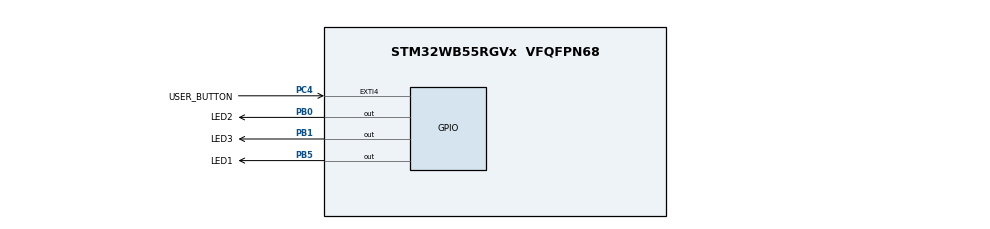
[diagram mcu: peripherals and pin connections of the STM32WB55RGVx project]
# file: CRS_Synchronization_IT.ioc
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Mcu.Family=STM32WB
Mcu.Name=STM32WB55RGVx
Mcu.Package=VFQFPN68
NVIC.EXTI4_IRQn=true\:0\:0\:false\:false\:true\:true\:true
NVIC.PriorityGroup=NVIC_PRIORITYGROUP_4
PB0.GPIO_Label=LED2
PB0.Signal=GPIO_Output
PB1.GPIO_Label=LED3
PB1.Signal=GPIO_Output
PB5.GPIO_Label=LED1
PB5.Signal=GPIO_Output
PC4.GPIO_Label=USER_BUTTON
PC4.GPIO_ModeDefaultEXTI=GPIO_MODE_IT_FALLING
PC4.GPIO_PuPd=GPIO_PULLUP
PC4.Signal=GPXTI4
ProjectManager.HeapSize=0x200
ProjectManager.StackSize=0x400
ProjectManager.TargetToolchain=EWARM V8
RCC.AHB2CLKDivider=RCC_SYSCLK_DIV2
RCC.AHBFreq_Value=64000000
RCC.APB1Freq_Value=64000000
RCC.APB1TimFreq_Value=64000000
RCC.APB2Freq_Value=64000000
RCC.APB2TimFreq_Value=64000000
RCC.APB3Freq_Value=16000000
RCC.CodegenConfigPeriph=false
RCC.CortexFreq_Value=64000000
RCC.HCLKFreq_Value=64000000
RCC.HSE_VALUE=8000000
RCC.HSI48_VALUE=48000000
RCC.HSI_VALUE=16000000
RCC.LSE_VALUE=32768
RCC.PLLN=32
RCC.SYSCLKFreq_VALUE=64000000
RCC.SYSCLKSource=RCC_SYSCLKSOURCE_PLLCLK
RCC.VCOOutputFreq_Value=128000000
board=custom

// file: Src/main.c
/* USER CODE BEGIN Header */
/**
  ******************************************************************************
  * @file    Examples_LL/CRS/CRS_Synchronization_IT/Src/main.c
  * @author  MCD Application Team
  * @brief   This example describes how to configure Clock Recovery Service in
  *          IT mode through the STM32WBxx CRS LL API.
  ******************************************************************************
  * @attention
  *
  * <h2><center>&copy; Copyright (c) 2019 STMicroelectronics.
  * All rights reserved.</center></h2>
  *
  * This software component is licensed by ST under BSD 3-Clause license,
  * the "License"; You may not use this file except in compliance with the
  * License. You may obtain a copy of the License at:
  *                        opensource.org/licenses/BSD-3-Clause
  *
  ******************************************************************************
  */
/* USER CODE END Header */

#include "main.h"

/* USER CODE BEGIN PD */

#define CRS_STATUS_INIT       0
#define CRS_STATUS_SYNCOK     1
#define CRS_STATUS_SYNCWARN   2
#define CRS_STATUS_SYNCMISS   3
#define CRS_STATUS_SYNCERR    4

/* Oscillator time-out values */
#define LSE_TIMEOUT_VALUE     ((uint32_t)5000)  /* 5 s */

/* USER CODE END PD */

/* USER CODE BEGIN PV */
__IO uint8_t ubButtonPress = 0;

/* Variable to save SYNC status*/
__IO uint32_t CRSSyncStatus = CRS_STATUS_INIT;

/* Variable used for Timeout management */
#if (USE_TIMEOUT == 1)
uint32_t Timeout = 0;
#endif /* USE_TIMEOUT */

/* USER CODE END PV */

void SystemClock_Config(void);
static void MX_GPIO_Init(void);
/* USER CODE BEGIN PFP */

void     Enable_Sync_Reference_Clock(void);
void     Enable_CRS_Clocks(void);
void     Configure_CRS(uint32_t SyncSource);
void     MCO_ConfigGPIO(void);
void     LED_On(uint32_t LED_Number);
void     LED_Off(uint32_t LED_Number);
void     LED_Blinking(uint32_t LED_Number, uint32_t Period);
void     WaitForUserButtonPress(void);

/* USER CODE END PFP */

int main(void)
{
  /* USER CODE BEGIN 1 */

  uint32_t felim = 0;

  /* USER CODE END 1 */

  /* MCU Configuration--------------------------------------------------------*/

  /* Reset of all peripherals, Initializes the Flash interface and the Systick. */

  NVIC_SetPriorityGrouping(NVIC_PRIORITYGROUP_4);

  /* System interrupt init*/

  /* Configure the system clock */
  SystemClock_Config();

  /* Initialize all configured peripherals */
  MX_GPIO_Init();
  /* USER CODE BEGIN 2 */

  /* Enable the reference clock used for synchronization (LSE) */
  Enable_Sync_Reference_Clock();

  /* Enable HSI48 and CRS */
  Enable_CRS_Clocks();

  /* For monitoring output HSI48 MCO pin(PA8) */
  MCO_ConfigGPIO();

  /* Wait for User push-button (SW1) press to start transfer */
  WaitForUserButtonPress();

  /* Configure CRS with LSE parameters                                */
  /* but set the source to external via GPIO (which is not connected) */
  Configure_CRS(LL_CRS_SYNC_SOURCE_GPIO);

  /* Simulate a SYNC EVENT which will raise a SYNC_MISS EVENT */
  /* because no external sync clock is connected to GPIO      */
  LL_CRS_GenerateEvent_SWSYNC();
  /* USER CODE END 2 */

  /* Infinite loop */
  /* USER CODE BEGIN WHILE */
  while (1)
  {
    switch(CRSSyncStatus)
    {
    case CRS_STATUS_SYNCOK:
      /* Power on LED2 */
      LED_On(LED2);
      /* Power off LED1*/
      LED_Off(LED1);
      /* Power off LED3*/
      LED_Off(LED3);
      /* For visual comfort on LED2 apply delay */
      LL_mDelay(500);
      /* Enable CRS SYNCWARN interrupt (in case it goes out of sync) */
      LL_CRS_EnableIT_SYNCWARN();
      break;

    case CRS_STATUS_SYNCMISS:
      /* Power off LED2 */
      LED_Off(LED2);
      /* Power off LED1*/
      LED_Off(LED1);
      /* Power on LED3*/
      LED_On(LED3);
      /* Perform a new configuration to LSE when SYNC MISS is detected. */
      /* Delay to see the LED power on switch from LED3 to LED2 */
      LL_mDelay(1000);

      /* Change source to LSE and restart synchronization if necessary */
      if(LL_CRS_GetSyncSignalSource() != LL_CRS_SYNC_SOURCE_LSE)
      {
        /* CRS configuration can be changed only if frequency error is disabled */
        LL_CRS_DisableFreqErrorCounter();

        /* Change CRS SYNC signal source to LSE */
        LL_CRS_SetSyncSignalSource(LL_CRS_SYNC_SOURCE_LSE);

        /* Enable Frequency error counter */
        LL_CRS_EnableFreqErrorCounter();
      }
      else
      {
        /* Enable CRS SYNCOK interrupt */
        LL_CRS_EnableIT_SYNCOK();
      }
      break;

    case CRS_STATUS_SYNCWARN:
      /* Power off LED2 */
      LED_Off(LED2);
      /* Power on LED1*/
      LED_On(LED1);
      /* Power off LED3*/
      LED_Off(LED3);
      LL_mDelay(100);
      /* Increase tollerance (FELIM value) until no more warning */
      LL_CRS_DisableFreqErrorCounter();
      felim = LL_CRS_GetFreqErrorLimit();
      LL_CRS_SetFreqErrorLimit(felim+1);
      LL_CRS_EnableFreqErrorCounter();
      /* Enable CRS SYNCWARN interrupt (to allow resync) */
      LL_CRS_EnableIT_SYNCWARN();
      /* Enable CRS SYNCOK interrupt (if it was in SYNCOK but then in WARN again) */
      LL_CRS_EnableIT_SYNCOK();
      break;

    case CRS_STATUS_SYNCERR:
      /* Power off LED2 */
      LED_Off(LED2);
      /* Power off LED1*/
      LED_Off(LED1);
      /* Power on LED3*/
      LED_On(LED3);
      break;

    default:
      break;
    }

    /* USER CODE END WHILE */

  }
}

void SystemClock_Config(void)
{
  LL_FLASH_SetLatency(LL_FLASH_LATENCY_3);

  /* MSI configuration and activation */
  LL_RCC_MSI_Enable();
  while(LL_RCC_MSI_IsReady() != 1)
  {
  };

  /* Main PLL configuration and activation */
  LL_RCC_PLL_ConfigDomain_SYS(LL_RCC_PLLSOURCE_MSI, LL_RCC_PLLM_DIV_1, 32, LL_RCC_PLLR_DIV_2);
  LL_RCC_PLL_Enable();
  LL_RCC_PLL_EnableDomain_SYS();
  while(LL_RCC_PLL_IsReady() != 1)
  {
  };

  /* Sysclk activation on the main PLL */
  /* Set CPU1 prescaler*/
  LL_RCC_SetAHBPrescaler(LL_RCC_SYSCLK_DIV_1);

  /* Set CPU2 prescaler*/
  LL_C2_RCC_SetAHBPrescaler(LL_RCC_SYSCLK_DIV_2);

  LL_RCC_SetSysClkSource(LL_RCC_SYS_CLKSOURCE_PLL);
  while(LL_RCC_GetSysClkSource() != LL_RCC_SYS_CLKSOURCE_STATUS_PLL)
  {
  };

  /* Set AHB SHARED prescaler*/
  LL_RCC_SetAHB4Prescaler(LL_RCC_SYSCLK_DIV_1);

  /* Set APB1 prescaler*/
  LL_RCC_SetAPB1Prescaler(LL_RCC_APB1_DIV_1);

  /* Set APB2 prescaler*/
  LL_RCC_SetAPB2Prescaler(LL_RCC_APB2_DIV_1);

  LL_Init1msTick(64000000);

  /* Update CMSIS variable (which can be updated also through SystemCoreClockUpdate function) */
  LL_SetSystemCoreClock(64000000);
}

static void MX_GPIO_Init(void)
{
  LL_EXTI_InitTypeDef EXTI_InitStruct = {0};
  LL_GPIO_InitTypeDef GPIO_InitStruct = {0};

  /* GPIO Ports Clock Enable */
  LL_AHB2_GRP1_EnableClock(LL_AHB2_GRP1_PERIPH_GPIOC);
  LL_AHB2_GRP1_EnableClock(LL_AHB2_GRP1_PERIPH_GPIOB);

  /**/
  LL_GPIO_ResetOutputPin(GPIOB, LED2_Pin|LED3_Pin|LED1_Pin);

  /**/
  LL_SYSCFG_SetEXTISource(LL_SYSCFG_EXTI_PORTC, LL_SYSCFG_EXTI_LINE4);

  /**/
  EXTI_InitStruct.Line_0_31 = LL_EXTI_LINE_4;
  EXTI_InitStruct.Line_32_63 = LL_EXTI_LINE_NONE;
  EXTI_InitStruct.LineCommand = ENABLE;
  EXTI_InitStruct.Mode = LL_EXTI_MODE_IT;
  EXTI_InitStruct.Trigger = LL_EXTI_TRIGGER_FALLING;
  LL_EXTI_Init(&EXTI_InitStruct);

  /**/
  LL_GPIO_SetPinPull(USER_BUTTON_GPIO_Port, USER_BUTTON_Pin, LL_GPIO_PULL_UP);

  /**/
  LL_GPIO_SetPinMode(USER_BUTTON_GPIO_Port, USER_BUTTON_Pin, LL_GPIO_MODE_INPUT);

  /**/
  GPIO_InitStruct.Pin = LED2_Pin|LED3_Pin|LED1_Pin;
  GPIO_InitStruct.Mode = LL_GPIO_MODE_OUTPUT;
  GPIO_InitStruct.Speed = LL_GPIO_SPEED_FREQ_LOW;
  GPIO_InitStruct.OutputType = LL_GPIO_OUTPUT_PUSHPULL;
  GPIO_InitStruct.Pull = LL_GPIO_PULL_NO;
  LL_GPIO_Init(GPIOB, &GPIO_InitStruct);

  /* EXTI interrupt init*/
  NVIC_SetPriority(EXTI4_IRQn, NVIC_EncodePriority(NVIC_GetPriorityGrouping(),0, 0));
  NVIC_EnableIRQ(EXTI4_IRQn);

}

/* USER CODE BEGIN 4 */

/**
  * @brief  This function enables the reference clock used for sync (LSE)
  * @param  None
  * @retval None
  */
void Enable_Sync_Reference_Clock(void)
{
  /* To enable LSE, before it is neccessary to:
     - Reset the Back up Domain */
  LL_PWR_EnableBkUpAccess();

  /* Enable LSE only if disabled.*/
  if (LL_RCC_LSE_IsReady() == 0)
  {
    LL_RCC_ForceBackupDomainReset();
    LL_RCC_ReleaseBackupDomainReset();
    LL_RCC_LSE_Enable();
#if (USE_TIMEOUT == 1)
    Timeout = LSE_TIMEOUT_VALUE;
#endif /* USE_TIMEOUT */
    while (LL_RCC_LSE_IsReady() != 1)
    {
#if (USE_TIMEOUT == 1)
      if (LL_SYSTICK_IsActiveCounterFlag())
      {
        Timeout --;
      }
      if (Timeout == 0)
      {
        /* LSE activation error */
        LED_Blinking(LED_BLINK_ERROR);
      }
#endif /* USE_TIMEOUT */
    }
  }
}

/**
  * @brief  This function enables CRS and HSI48 clocks
  * @param  None
  * @retval None
  */
void Enable_CRS_Clocks(void)
{
  /* CRS initialization (enable HSI48 oscillator and enable CRS clock) */

  /* Enable CRS clock*/
  LL_APB1_GRP1_EnableClock(LL_APB1_GRP1_PERIPH_CRS);

  /* Enable HSI48 only if disabled.*/
  if (LL_RCC_HSI48_IsReady() == 0)
  {
    LL_RCC_HSI48_Enable();
#if (USE_TIMEOUT == 1)
    Timeout = LSE_TIMEOUT_VALUE;
#endif /* USE_TIMEOUT */
    while (LL_RCC_HSI48_IsReady() != 1)
    {
#if (USE_TIMEOUT == 1)
      if (LL_SYSTICK_IsActiveCounterFlag())
      {
        Timeout --;
      }
      if (Timeout == 0)
      {
        /* HSI48 activation error */
        LED_Blinking(LED_BLINK_ERROR);
      }
#endif /* USE_TIMEOUT */
    }
  }
}

/**
  * @brief  This function configures CRS
  * @param  None
  * @retval None
  */
void Configure_CRS(uint32_t SyncSource)
{
  /* Enable and set CRS interrupt*/
  NVIC_SetPriority(CRS_IRQn, 0x03);
  NVIC_EnableIRQ(CRS_IRQn);

  /* HSI48 Synchronization:
     - HSI trimming value set to 0x00 to see the automatic calibration performed by CRS
     - Reload value calculated like this F(LSE)=32.768kHz then Reload=(f(Target)/f(LSE))-1= 0x5B7
     - Felim value calculated like this FELIM = (fTARGET / fSYNC) * STEP[%] / 100% / 2 with STEP=0.14% then FELIM = 2
  */
  LL_CRS_ConfigSynchronization(0x00,
                               2,
                               __LL_CRS_CALC_CALCULATE_RELOADVALUE(HSI48_VALUE, LSE_VALUE),
                               LL_CRS_SYNC_DIV_1 | SyncSource | LL_CRS_SYNC_POLARITY_FALLING
                              );

  /* Enable Automatic trimming */
  LL_CRS_EnableAutoTrimming();

  /* Enable Frequency error counter */
  LL_CRS_EnableFreqErrorCounter();

  /* Enable CRS interrupts */
  /* Each interruption can be enabled independently in using following functions:
  - LL_CRS_EnableIT_SYNCOK();
  - LL_CRS_EnableIT_SYNCWARN();
  - LL_CRS_EnableIT_ERR();
  - LL_CRS_EnableIT_ESYNC();
  */
  LL_CRS_WriteReg(CRS, CR, LL_CRS_ReadReg(CRS, CR) | LL_CRS_CR_SYNCOKIE | LL_CRS_CR_SYNCWARNIE | LL_CRS_CR_ERRIE | LL_CRS_CR_ESYNCIE);
}

/**
  * @brief  Configure MCO pin (PA8).
  * @param  None
  * @retval None
  */
void MCO_ConfigGPIO(void)
{
  /* MCO Clock Enable */
  LL_AHB2_GRP1_EnableClock(LL_AHB2_GRP1_PERIPH_GPIOA);

  /* Configure the MCO pin in alternate function mode */
  LL_GPIO_SetPinMode(GPIOA, LL_GPIO_PIN_8, LL_GPIO_MODE_ALTERNATE);
  LL_GPIO_SetPinOutputType(GPIOA, LL_GPIO_PIN_8, LL_GPIO_OUTPUT_PUSHPULL);
  LL_GPIO_SetPinSpeed(GPIOA, LL_GPIO_PIN_8, LL_GPIO_SPEED_FREQ_HIGH);
  LL_GPIO_SetPinPull(GPIOA, LL_GPIO_PIN_8, LL_GPIO_PULL_NO);
  LL_GPIO_SetAFPin_8_15(GPIOA, LL_GPIO_PIN_8, LL_GPIO_AF_0);

  /* Select MCO clock source and prescaler */
  LL_RCC_ConfigMCO(LL_RCC_MCO1SOURCE_HSI48, LL_RCC_MCO1_DIV_1);
}

/**
  * @brief  Turn-on LED provided as parameter
  * @param  LED_Number LED number (LED2, LED1 or LED3)
  * @retval None
  */
void LED_On(uint32_t LED_Number)
{
  switch (LED_Number)
  {
    case LED2:
      /* Turn LED2 on */
      LL_GPIO_SetOutputPin(LED2_GPIO_Port, LED2_Pin);
      break;
    case LED1:
      /* Turn LED1 on */
      LL_GPIO_SetOutputPin(LED1_GPIO_Port, LED1_Pin);
      break;
    case LED3:
      /* Turn LED3 on */
      LL_GPIO_SetOutputPin(LED3_GPIO_Port, LED3_Pin);
      break;
  }
}

/**
  * @brief  Turn-off LED provided as parameter
  * @param  LED_Number LED number (LED2, LED1 or LED3)
  * @retval None
  */
void LED_Off(uint32_t LED_Number)
{
  switch (LED_Number)
  {
    case LED2:
      /* Turn LED2 off */
      LL_GPIO_ResetOutputPin(LED2_GPIO_Port, LED2_Pin);
      break;
    case LED1:
      /* Turn LED1 off */
      LL_GPIO_ResetOutputPin(LED1_GPIO_Port, LED1_Pin);
      break;
    case LED3:
      /* Turn LED3 off */
      LL_GPIO_ResetOutputPin(LED3_GPIO_Port, LED3_Pin);
      break;
  }
}

/**
  * @brief  Set LED_Number to Blinking mode for an infinite loop (toggle period based on value provided as input parameter).
  * @param  LED_Number LED number (LED2, LED1 or LED3)
  * @param  Period : Period of time (in ms) between each toggling of LED
  *   This parameter can be user defined values. Pre-defined values used in that example are :
  *     @arg LED_BLINK_FAST : Fast Blinking
  *     @arg LED_BLINK_SLOW : Slow Blinking
  *     @arg LED_BLINK_ERROR : Error specific Blinking
  * @retval None
  */
void LED_Blinking(uint32_t LED_Number, uint32_t Period)
{
  switch (LED_Number)
  {
    case LED2:
      /* Toggle IO in an infinite loop */
      while (1)
      {
        LL_GPIO_TogglePin(LED2_GPIO_Port, LED2_Pin);
        LL_mDelay(Period);
      }
    case LED1:
      /* Toggle IO in an infinite loop */
      while (1)
      {
        LL_GPIO_TogglePin(LED1_GPIO_Port, LED1_Pin);
        LL_mDelay(Period);
      }
    case LED3:
      /* Toggle IO in an infinite loop */
      while (1)
      {
        LL_GPIO_TogglePin(LED3_GPIO_Port, LED3_Pin);
        LL_mDelay(Period);
      }
  }
}

/**
  * @brief  Wait for User push-button (SW1) press to start transfer.
  * @param  None
  * @retval None
  */
  /*  */
void WaitForUserButtonPress(void)
{
  while (ubButtonPress == 0)
  {
    LL_GPIO_TogglePin(LED2_GPIO_Port, LED2_Pin);
    LL_mDelay(LED_BLINK_FAST);
  }
  /* Ensure that LED2 is turned Off */
  LED_Off(LED2);
}

/******************************************************************************/
/*   USER IRQ HANDLER TREATMENT                                               */
/******************************************************************************/
/**
  * @brief  Function to manage User button callback interruption
  * @param  None
  * @retval None
  */
void UserButton_Callback(void)
{
  /* Update User push-button (SW1) variable : to be checked in waiting loop in main program */
  ubButtonPress = 1;
}

/**
  * @brief  Handle CRS interruption
  * @param  none
  * @retval none
  */
void CRS_Handler_Callback(void)
{
  /* Check CRS SYNCOK flag  */
  if (LL_CRS_IsActiveFlag_SYNCOK() && LL_CRS_IsEnabledIT_SYNCOK())
  {
    CRSSyncStatus = CRS_STATUS_SYNCOK;

    /* Disable CRS SYNCOK interrupt since synchronization succeeded */
    LL_CRS_DisableIT_SYNCOK();

    /* Clear CRS SYNC event OK bit */
    LL_CRS_ClearFlag_SYNCOK();
  }

  /* Check CRS SYNCWARN flag  */
  if (LL_CRS_IsActiveFlag_SYNCWARN() && LL_CRS_IsEnabledIT_SYNCWARN())
  {
    CRSSyncStatus = CRS_STATUS_SYNCWARN;

    /* Disable temporary CRS SYNCWARN interrupt to let the main loop to be execute */
    LL_CRS_DisableIT_SYNCWARN();

    /* Clear CRS SYNCWARN bit */
    LL_CRS_ClearFlag_SYNCWARN();
  }

  /* Check CRS SYNCERR flag  */
  if (LL_CRS_IsActiveFlag_SYNCERR() && LL_CRS_IsEnabledIT_ERR())
  {
    CRSSyncStatus = CRS_STATUS_SYNCERR;

    /* Clear CRS Error bit */
    LL_CRS_ClearFlag_ERR();
  }

  /* Check CRS SYNC Missed flag  */
  if (LL_CRS_IsActiveFlag_SYNCMISS() && LL_CRS_IsEnabledIT_ERR())
  {
    CRSSyncStatus = CRS_STATUS_SYNCMISS;

    /* Clear CRS SYNC Missed bit */
    LL_CRS_ClearFlag_ERR();
  }

  /* Check CRS Expected SYNC flag  */
  if (LL_CRS_IsActiveFlag_ESYNC() && LL_CRS_IsEnabledIT_ESYNC())
  {
    /* frequency error counter reached a zero value */
    LL_CRS_ClearFlag_ESYNC();
  }
}

/* USER CODE END 4 */

void Error_Handler(void)
{
}

/************************ (C) COPYRIGHT STMicroelectronics *****END OF FILE****/
